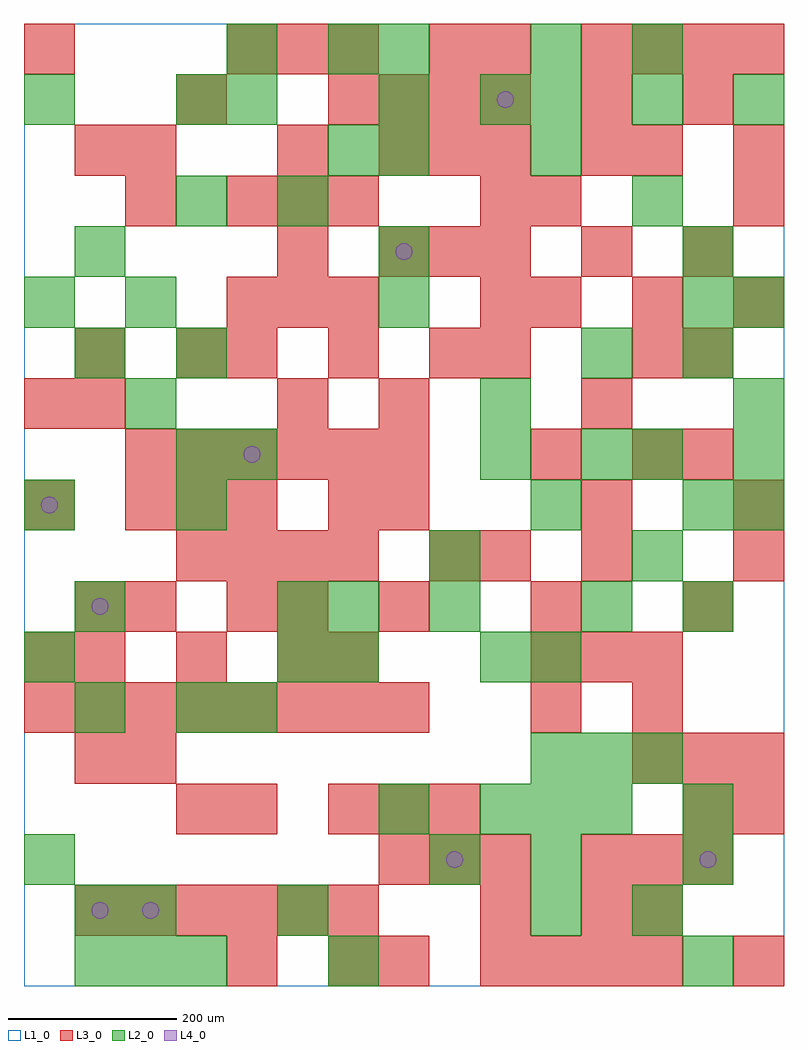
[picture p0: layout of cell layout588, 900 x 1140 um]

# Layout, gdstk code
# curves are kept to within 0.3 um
import gdstk
lib = gdstk.Library(unit=1e-6, precision=1e-09)
def R(c, l, rs):  # rectangles x0, y0, x1, y1
    for r in rs: c.add(gdstk.rectangle(r[:2], r[2:], *l))
def A(c, l, x, y, w, h, nx, ny, dx, dy):  # array of equal rectangles
    R(c, l, [(x+i*dx, y+j*dy, x+i*dx+w, y+j*dy+h) for i in range(nx) for j in range(ny)])
def P(c, l, *ps):  # polygons
    for p in ps: c.add(gdstk.Polygon(p, *l))
L1_0 = (1, 0)
L2_0 = (2, 0)
L3_0 = (3, 0)
L4_0 = (4, 0)

layout588 = lib.new_cell('layout588')
R(layout588, L1_0, [(0,0,900,1140)])
A(layout588, L2_0, 60, 0, 60, 60, 3, 1, 60, 0)
A(layout588, L2_0, 540, 180, 60, 60, 3, 1, 60, 0)
A(layout588, L2_0, 600, 240, 60, 60, 3, 1, 60, 0)
A(layout588, L2_0, 0, 540, 60, 60, 1, 3, 0, 240)
A(layout588, L2_0, 840, 540, 60, 60, 1, 3, 0, 60)
A(layout588, L2_0, 60, 840, 60, 60, 3, 1, 360, 0)
A(layout588, L2_0, 420, 960, 60, 60, 1, 3, 0, 60)
A(layout588, L2_0, 600, 1020, 60, 60, 3, 1, 120, 0)
R(layout588, L2_0, [(360,0,420,60), (780,0,840,60), (60,60,120,120), (120,60,180,120), (300,60,360,120), (600,60,660,120), (720,60,780,120), (0,120,60,180), (480,120,540,180), (600,120,660,180), (780,120,840,180), (420,180,480,240), (780,180,840,240), (60,300,120,360), (180,300,240,360), (240,300,300,360), (0,360,60,420), (300,360,360,420), (360,360,420,420), (540,360,600,420), (600,360,660,420), (60,420,120,480), (300,420,360,480), (360,420,420,480), (480,420,540,480), (660,420,720,480), (780,420,840,480), (480,480,540,540), (720,480,780,540), (180,540,240,600), (600,540,660,600), (780,540,840,600), (180,600,240,660), (240,600,300,660), (540,600,600,660), (660,600,720,660), (720,600,780,660), (120,660,180,720), (540,660,600,720), (60,720,120,780), (180,720,240,780), (660,720,720,780), (780,720,840,780), (120,780,180,840), (420,780,480,840), (780,780,840,840), (840,780,900,840), (180,900,240,960), (300,900,360,960), (720,900,780,960), (360,960,420,1020), (600,960,660,1020), (180,1020,240,1080), (240,1020,300,1080), (540,1020,600,1080), (240,1080,300,1140), (360,1080,420,1140), (600,1080,660,1140), (720,1080,780,1140)])
A(layout588, L3_0, 540, 0, 60, 60, 4, 1, 60, 0)
A(layout588, L3_0, 60, 60, 60, 60, 6, 1, 60, 0)
A(layout588, L3_0, 420, 120, 60, 60, 3, 2, 60, 720)
A(layout588, L3_0, 660, 120, 60, 60, 3, 1, 60, 0)
A(layout588, L3_0, 360, 180, 60, 60, 3, 1, 60, 0)
A(layout588, L3_0, 720, 240, 60, 60, 3, 1, 60, 0)
A(layout588, L3_0, 0, 300, 60, 60, 8, 1, 60, 0)
A(layout588, L3_0, 600, 300, 60, 60, 1, 3, 0, 300)
A(layout588, L3_0, 60, 360, 60, 60, 3, 1, 120, 0)
A(layout588, L3_0, 600, 360, 60, 60, 3, 1, 60, 0)
A(layout588, L3_0, 420, 420, 60, 60, 3, 1, 180, 0)
A(layout588, L3_0, 180, 480, 60, 60, 4, 1, 60, 0)
A(layout588, L3_0, 120, 540, 60, 60, 3, 1, 60, 0)
A(layout588, L3_0, 120, 600, 60, 60, 6, 1, 60, 0)
A(layout588, L3_0, 780, 600, 60, 60, 1, 3, 0, 120)
A(layout588, L3_0, 240, 720, 60, 60, 3, 1, 120, 0)
A(layout588, L3_0, 240, 780, 60, 60, 3, 2, 60, 120)
A(layout588, L3_0, 600, 780, 60, 60, 3, 1, 120, 0)
A(layout588, L3_0, 420, 960, 60, 60, 3, 1, 60, 0)
A(layout588, L3_0, 360, 1020, 60, 60, 4, 1, 60, 0)
A(layout588, L3_0, 240, 1080, 60, 60, 3, 1, 60, 0)
A(layout588, L3_0, 660, 1080, 60, 60, 4, 1, 60, 0)
R(layout588, L3_0, [(240,0,300,60), (360,0,420,60), (420,0,480,60), (840,0,900,60), (540,60,600,120), (660,60,720,120), (720,60,780,120), (180,180,240,240), (240,180,300,240), (780,180,840,240), (840,180,900,240), (60,240,120,300), (120,240,180,300), (720,300,780,360), (0,360,60,420), (360,360,420,420), (60,420,120,480), (120,420,180,480), (240,420,300,480), (300,420,360,480), (480,480,540,540), (540,480,600,540), (660,480,720,540), (840,480,900,540), (0,540,60,600), (360,540,420,600), (420,540,480,600), (660,540,720,600), (840,540,900,600), (720,600,780,660), (0,660,60,720), (60,660,120,720), (300,660,360,720), (420,660,480,720), (660,660,720,720), (60,720,120,780), (180,720,240,780), (540,720,600,780), (720,720,780,780), (540,780,600,840), (300,840,360,900), (660,840,720,900), (120,900,180,960), (540,900,600,960), (840,900,900,960), (60,960,120,1020), (120,960,180,1020), (300,960,360,1020), (660,960,720,1020), (720,960,780,1020), (840,960,900,1020), (180,1020,240,1080), (660,1020,720,1080), (780,1020,840,1080), (0,1080,60,1140), (480,1080,540,1140), (540,1080,600,1140)])
P(layout588, L4_0, [(40,570),(39.239,573.827),(37.071,577.071),(33.827,579.239),(30,580),(26.173,579.239),(22.929,577.071),(20.761,573.827),(20,570),(20.761,566.173),(22.929,562.929),(26.173,560.761),(30,560),(33.827,560.761),(37.071,562.929),(39.239,566.173)],
  [(100,90),(99.239,93.827),(97.071,97.071),(93.827,99.239),(90,100),(86.173,99.239),(82.929,97.071),(80.761,93.827),(80,90),(80.761,86.173),(82.929,82.929),(86.173,80.761),(90,80),(93.827,80.761),(97.071,82.929),(99.239,86.173)],
  [(100,450),(99.239,453.827),(97.071,457.071),(93.827,459.239),(90,460),(86.173,459.239),(82.929,457.071),(80.761,453.827),(80,450),(80.761,446.173),(82.929,442.929),(86.173,440.761),(90,440),(93.827,440.761),(97.071,442.929),(99.239,446.173)],
  [(160,90),(159.239,93.827),(157.071,97.071),(153.827,99.239),(150,100),(146.173,99.239),(142.929,97.071),(140.761,93.827),(140,90),(140.761,86.173),(142.929,82.929),(146.173,80.761),(150,80),(153.827,80.761),(157.071,82.929),(159.239,86.173)],
  [(280,630),(279.239,633.827),(277.071,637.071),(273.827,639.239),(270,640),(266.173,639.239),(262.929,637.071),(260.761,633.827),(260,630),(260.761,626.173),(262.929,622.929),(266.173,620.761),(270,620),(273.827,620.761),(277.071,622.929),(279.239,626.173)],
  [(460,870),(459.239,873.827),(457.071,877.071),(453.827,879.239),(450,880),(446.173,879.239),(442.929,877.071),(440.761,873.827),(440,870),(440.761,866.173),(442.929,862.929),(446.173,860.761),(450,860),(453.827,860.761),(457.071,862.929),(459.239,866.173)],
  [(520,150),(519.239,153.827),(517.071,157.071),(513.827,159.239),(510,160),(506.173,159.239),(502.929,157.071),(500.761,153.827),(500,150),(500.761,146.173),(502.929,142.929),(506.173,140.761),(510,140),(513.827,140.761),(517.071,142.929),(519.239,146.173)],
  [(580,1050),(579.239,1053.827),(577.071,1057.071),(573.827,1059.239),(570,1060),(566.173,1059.239),(562.929,1057.071),(560.761,1053.827),(560,1050),(560.761,1046.173),(562.929,1042.929),(566.173,1040.761),(570,1040),(573.827,1040.761),(577.071,1042.929),(579.239,1046.173)],
  [(820,150),(819.239,153.827),(817.071,157.071),(813.827,159.239),(810,160),(806.173,159.239),(802.929,157.071),(800.761,153.827),(800,150),(800.761,146.173),(802.929,142.929),(806.173,140.761),(810,140),(813.827,140.761),(817.071,142.929),(819.239,146.173)])

lib.write_gds('layout588.gds')
